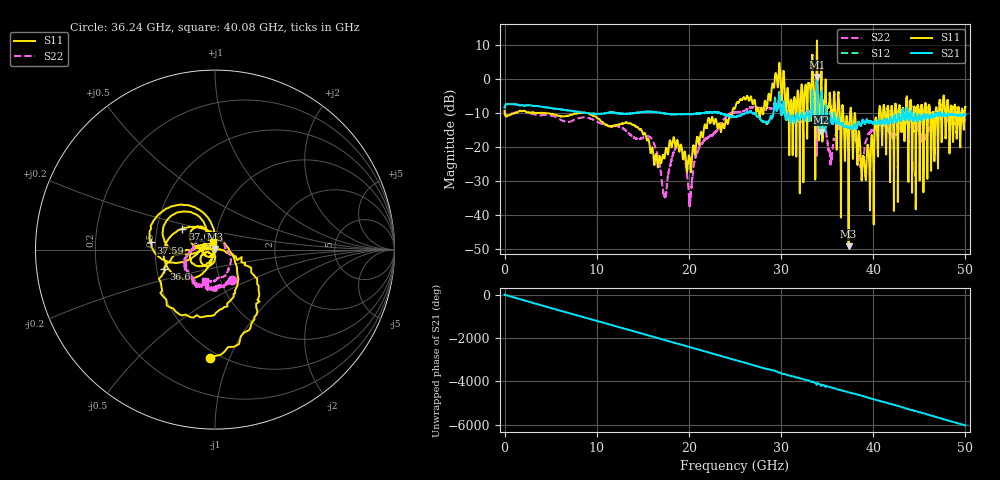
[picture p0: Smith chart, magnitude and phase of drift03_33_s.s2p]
!Created with skrf (http://scikit-rf.org).
# Hz S RI R 50.0
!freq ReS11 ImS11 ReS21 ImS21 ReS12 ImS12 ReS22 ImS22
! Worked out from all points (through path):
!   10001 points, 300 kHz to 50 GHz, reference 50 ohm
!   highest |S21| = 0.60 dB at 33.9 GHz (marker M1); lowest = -15.6 dB at 34.32 GHz (marker M2)
!   group delay of S21, straight-line fit = 335 ps
!   lowest |S11| = -49.2 dB at 37.33 GHz (marker M3), VSWR 1.01, Z = 49.8 + j0.309 ohm
!   |S11| at or under -10 dB: 4.473 GHz to 7.929 GHz (3.456 GHz wide, 55.7 % of centre); 9.007 GHz to 24.7 GHz (15.69 GHz wide, 93.1 % of centre); 37.62 GHz to 40.62 GHz (3.004 GHz wide, 7.68 % of centre) (the widest 3 of 62)
!   |S22| runs from -37.4 to -5.9 dB; largest |S21 - S12| = 0.11
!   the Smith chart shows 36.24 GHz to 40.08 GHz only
!   S11 on the Smith chart (normalised r, x): 36.24 GHz: 0.45, -0.85; 36.6 GHz: 0.54, -0.13; 37.04 GHz: 0.68, +0.16; 37.59 GHz: 0.47, +0.04; 40.08 GHz: 0.97, +0.08
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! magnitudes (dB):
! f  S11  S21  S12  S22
! 300 kHz  -9.3  -8.4  -8.5  -9.3
! 8.335 GHz  -9.9  -9.8  -9.8  -11.3
! 16.67 GHz  -25.5  -9.8  -9.8  -23.3
! 17.38 GHz  -22.9  -10.1  -10.1  -34.5
! 19.06 GHz  -20.1  -10.3  -10.3  -20.0
! 20.12 GHz  -24.3  -10.3  -10.3  -36.5
! 21.19 GHz  -17.7  -10.1  -10.1  -19.6
! 25 GHz  -8.5  -11.1  -11.1  -9.9
! 31.08 GHz  -6.1  -12.7  -12.7  -10.5
! 33.34 GHz  0.7  -7.4  -7.5  -9.4
! 33.9 GHz  11.4  0.6  0.2  -22.6
! 34.32 GHz  -2.9  -15.6  -14.9  -11.3
! 35.35 GHz  -6.6  -10.5  -10.0  -24.1
! 36.24 GHz  -4.4  -11.7  -11.7  -14.2
! 36.6 GHz  -10.3  -13.1  -13.0  -13.4
! 37.04 GHz  -13.3  -13.8  -14.0  -14.0
! 37.33 GHz  -49.2  -14.3  -14.5  -13.6
! 37.59 GHz  -8.9  -13.9  -13.9  -14.0
! 38.71 GHz  -27.4  -13.5  -13.3  -25.3
! 40.08 GHz  -27.6  -12.7  -12.7  -14.8
! 41.67 GHz  -9.6  -13.3  -13.3  -15.1
! 50 GHz  -8.2  -10.5  -10.5  -12.1
